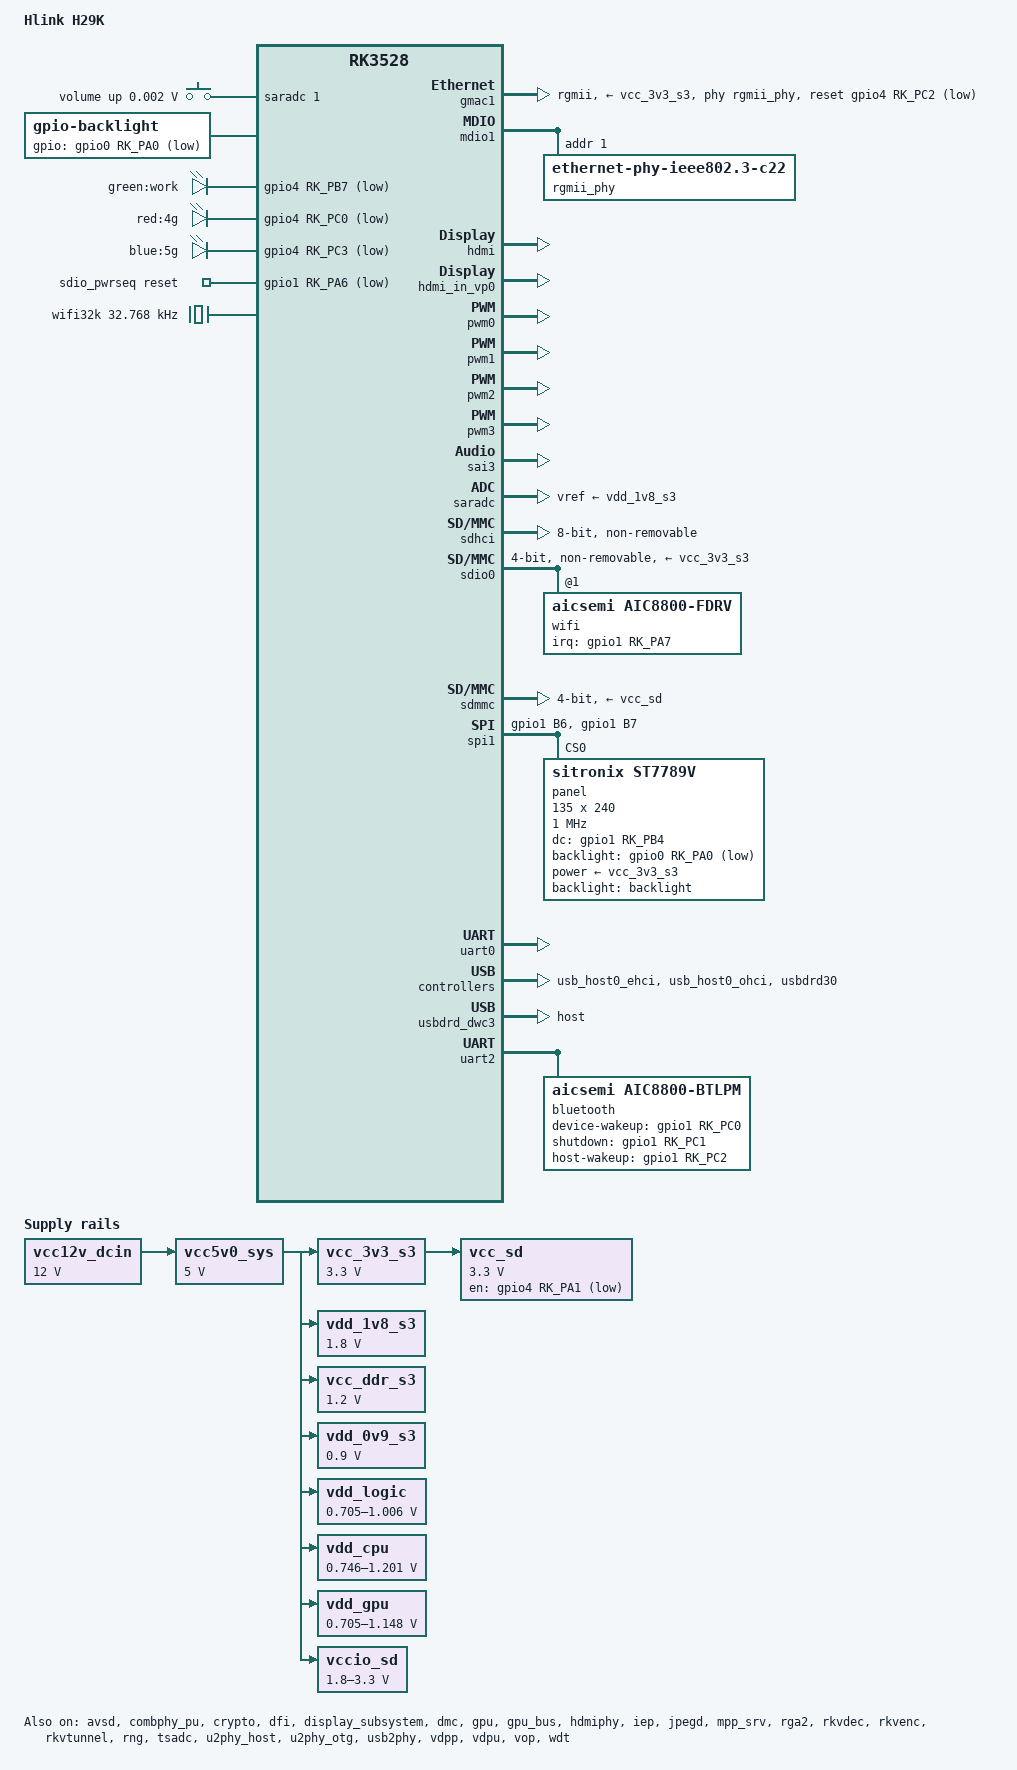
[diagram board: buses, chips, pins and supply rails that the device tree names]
// SPDX-License-Identifier: (GPL-2.0+ OR MIT)
/*
 * Copyright (c) 2022 Rockchip Electronics Co., Ltd.
 * Author: flippy (flippy@sina.com)
 *
 */

/dts-v1/;

#include <dt-bindings/gpio/gpio.h>
#include <dt-bindings/input/rk-input.h>
#include <dt-bindings/pinctrl/rockchip.h>
#include "rk3528.dtsi"

/ {
	model = "Hlink H29K";
	compatible = "hlink,h29k", "rockchip,rk3528";

	acodec_sound: acodec-sound {
		status = "disabled";
		compatible = "simple-audio-card";
		simple-audio-card,name = "rk3528-acodec";
		simple-audio-card,format = "i2s";
		simple-audio-card,mclk-fs = <256>;
		simple-audio-card,cpu {
			sound-dai = <&sai2>;
		};
		simple-audio-card,codec {
			sound-dai = <&acodec>;
		};
	};

	adc_keys: adc-keys {
		status = "okay";
		compatible = "adc-keys";
		io-channels = <&saradc 1>;
		io-channel-names = "buttons";
		keyup-threshold-microvolt = <1800000>;
		poll-interval = <100>;

		vol-up-key {
			label = "volume up";
			linux,code = <KEY_VOLUMEUP>;
			press-threshold-microvolt = <1750>;
		};
	};

	aliases: aliases {
		ethernet0 = &gmac1;
		mmc0 = &sdmmc;
		mmc1 = &sdhci;
		mmc2 = &sdio0;
	};

	backlight: backlight {
		compatible = "gpio-backlight";
		pinctrl-names = "default";
		pinctrl-0 = <&lcd_backlight_pin>;
		gpios = <&gpio0 RK_PA0 GPIO_ACTIVE_LOW>;
		default-on;
	};
	
	chosen: chosen{
		bootargs = "earlycon=uart8250,mmio32,0xff9f0000 console=ttyS0,1500000";
	};

	fiq_debugger: fiq-debugger {
		compatible = "rockchip,fiq-debugger";
		rockchip,serial-id = <0>;
		rockchip,wake-irq = <0>;
		/* If enable uart uses irq instead of fiq */
		rockchip,irq-mode-enable = <1>;
		rockchip,baudrate = <1500000>;  /* Only 115200 and 1500000 */
		interrupts = <GIC_SPI 186 IRQ_TYPE_LEVEL_HIGH>;
		pinctrl-names = "default";
		pinctrl-0 = <&uart0m0_xfer>;
		status = "disabled";
	};

	firmware: firmware {
		optee: optee {
			compatible = "linaro,optee-tz";
			method = "smc";
		};
	};

	leds: leds {
		compatible = "gpio-leds";
		pinctrl-names = "led-green-work", "led-red-4g", "led-blue-5g";
		pinctrl-0 = <&led_green_work_en>, <&led_red_4g_en>, <&led_blue_5g_en>;

		led_green_work: led-green-work {
			label = "green:work";
			gpios = <&gpio4 RK_PB7 GPIO_ACTIVE_LOW>;
			linux,default-trigger = "heartbeat";
		};

		led_red_4g: led-red-4g {
			label = "red:4g";
			gpios = <&gpio4 RK_PC0 GPIO_ACTIVE_LOW>;
		};

		led_blue_5g: led-blue-5g {
			label = "blue:5g";
			gpios = <&gpio4 RK_PC3 GPIO_ACTIVE_LOW>;
		};
	};

	reserved_memory: reserved-memory {
		#address-cells = <2>;
		#size-cells = <2>;
		ranges;

		cmd: cma {
			compatible = "shared-dma-pool";
			reusable;
			size = <0x00 0x2000000>;
			linux,cma-default;
		};

		drm_logo: drm-logo@00000000 {
			compatible = "rockchip,drm-logo";
			reg = <0x0 0x0 0x0 0x0>;
		};

		drm_cubic_lut: drm-cubic-lut@00000000 {
			compatible = "rockchip,drm-cubic-lut";
			reg = <0x0 0x0 0x0 0x0>;
		};

		ramoops: ramoops@110000 {
			compatible = "ramoops";
			/* 0x110000 to 0x1f0000 is for ramoops */
			reg = <0x0 0x110000 0x0 0xe0000>;
			boot-log-size = <0x8000>;	/* do not change */
			boot-log-count = <0x1>;		/* do not change */
			console-size = <0x80000>;
			pmsg-size = <0x30000>;
			ftrace-size = <0x00000>;
			record-size = <0x14000>;
		};
	};

	vcc12v_dcin: vcc12v-dcin {
		compatible = "regulator-fixed";
		regulator-name = "vcc12v-dcin";
		regulator-always-on;
		regulator-boot-on;
		regulator-min-microvolt = <12000000>;
		regulator-max-microvolt = <12000000>;
	};

	vcc5v0_sys: vcc5v0-sys {
		compatible = "regulator-fixed";
		regulator-name = "vcc5v0_sys";
		regulator-always-on;
		regulator-boot-on;
		regulator-min-microvolt = <5000000>;
		regulator-max-microvolt = <5000000>;
		vin-supply = <&vcc12v_dcin>;
	};

	vcc_3v3_s3: vcc-3v3-s3 {
		compatible = "regulator-fixed";
		regulator-name = "vcc_3v3_s3";
		regulator-always-on;
		regulator-boot-on;
		regulator-min-microvolt = <3300000>;
		regulator-max-microvolt = <3300000>;
		vin-supply = <&vcc5v0_sys>;
	};

	vdd_1v8_s3: vdd-1v8-s3 {
		compatible = "regulator-fixed";
		regulator-name = "vdd_1v8_s3";
		regulator-always-on;
		regulator-boot-on;
		regulator-min-microvolt = <1800000>;
		regulator-max-microvolt = <1800000>;
		vin-supply = <&vcc5v0_sys>;
	};

	vcc_ddr_s3: vcc-ddr-s3 {
		compatible = "regulator-fixed";
		regulator-name = "vcc_ddr_s3";
		regulator-always-on;
		regulator-boot-on;
		regulator-min-microvolt = <1200000>;
		regulator-max-microvolt = <1200000>;
		vin-supply = <&vcc5v0_sys>;
	};

	vdd_0v9_s3: vdd-0v9-s3 {
		compatible = "regulator-fixed";
		regulator-name = "vdd_0v9_s3";
		regulator-always-on;
		regulator-boot-on;
		regulator-min-microvolt = <900000>;
		regulator-max-microvolt = <900000>;
		vin-supply = <&vcc5v0_sys>;
	};

	vdd_logic: vdd-logic {
		compatible = "pwm-regulator";
		pwms = <&pwm2 0 5000 1>;
		regulator-name = "vdd_logic";
		regulator-min-microvolt = <705000>;
		regulator-max-microvolt = <1006000>;
		regulator-init-microvolt = <950000>;
		regulator-always-on;
		regulator-boot-on;
		regulator-settling-time-up-us = <250>;
		pwm-supply = <&vcc5v0_sys>;
		status = "okay";
	};

	vdd_cpu: vdd-cpu {
		compatible = "pwm-regulator";
		pwms = <&pwm1 0 5000 1>;
		regulator-name = "vdd_cpu";
		regulator-min-microvolt = <746000>;
		regulator-max-microvolt = <1201000>;
		regulator-init-microvolt = <953000>;
		regulator-always-on;
		regulator-boot-on;
		regulator-settling-time-up-us = <250>;
		regulator-enable-ramp-delay = <400>;
		regulator-ramp-delay = <12500>;
		pwm-supply = <&vcc5v0_sys>;
		status = "okay";
	};

	vdd_gpu: vdd-gpu {
		compatible = "pwm-regulator";
		pwms = <&pwm0 0 5000 1>;
		regulator-name = "vdd_gpu";
		regulator-min-microvolt = <705000>;
		regulator-max-microvolt = <1148000>;
		regulator-init-microvolt = <900000>;
		regulator-always-on;
		regulator-boot-on;
		regulator-settling-time-up-us = <250>;
		regulator-enable-ramp-delay = <400>;
		regulator-ramp-delay = <12500>;
		pwm-supply = <&vcc5v0_sys>;
		status = "okay";
	};

	vcc_sd: vcc-sd {
		compatible = "regulator-fixed";
		gpio = <&gpio4 RK_PA1 GPIO_ACTIVE_LOW>;
		regulator-name = "vcc_sd";
		regulator-min-microvolt = <3300000>;
		regulator-max-microvolt = <3300000>;
		vin-supply = <&vcc_3v3_s3>;
	};

	vccio_sd: vccio-sd {
		compatible = "regulator-gpio";
		regulator-name = "vccio_sd";
		regulator-min-microvolt = <1800000>;
		regulator-max-microvolt = <3300000>;
		gpios = <&gpio4 RK_PB6 GPIO_ACTIVE_HIGH>;
		vin-supply = <&vcc5v0_sys>;
		states = <1800000 0x0
			  3300000 0x1>;
	};

	hdmi_sound: hdmi-sound {
		compatible = "rockchip,hdmi";
		rockchip,mclk-fs = <128>;
		rockchip,card-name = "rockchip,hdmi";
		rockchip,cpu = <&sai3>;
		rockchip,codec = <&hdmi>;
		rockchip,jack-det;
	};

	sdio_pwrseq: sdio-pwrseq {
		status = "okay";
		compatible = "mmc-pwrseq-simple";
		clocks = <&wifi32k>;
		clock-names = "ext_clock";
		pinctrl-names = "default";
		pinctrl-0 = <&wifi_enable_h>; // WIFI_REG_ON
		reset-gpios = <&gpio1 RK_PA6 GPIO_ACTIVE_LOW>;
		post-power-on-delay-ms = <1000>;
	};

	wifi32k: wifi32k {
		compatible = "fixed-clock";
		clock-frequency = <32768>;
		#clock-cells = <0>;
	};
};

&acodec {
	//pa-ctl-gpios = <&gpio0 RK_PA0 GPIO_ACTIVE_HIGH>;
	status = "disabled";
};

&avsd {
	status = "okay";
};

&combphy_pu {
	status = "okay";
};

&cpu0 {
	cpu-supply = <&vdd_cpu>;
};

&cpu0_opp_table {
	opp-408000000 {
		opp-microvolt-L0 = <905000 905000 1200000>;
		opp-microvolt-L1 = <895000 895000 1200000>;
		opp-microvolt-L2 = <885000 885000 1200000>;
		opp-microvolt-L3 = <875000 875000 1200000>;
		opp-microvolt-L4 = <865000 865000 1200000>;
		opp-microvolt-L5 = <855000 855000 1200000>;
		opp-microvolt = <850000 850000 1200000>;
	};

	opp-600000000 {
		opp-microvolt-L0 = <905000 905000 1200000>;
		opp-microvolt-L1 = <895000 895000 1200000>;
		opp-microvolt-L2 = <885000 885000 1200000>;
		opp-microvolt-L3 = <875000 875000 1200000>;
		opp-microvolt-L4 = <865000 865000 1200000>;
		opp-microvolt-L5 = <855000 855000 1200000>;
		opp-microvolt = <850000 850000 1200000>;
	};

	opp-816000000 {
		opp-microvolt-L0 = <905000 905000 1200000>;
		opp-microvolt-L1 = <895000 895000 1200000>;
		opp-microvolt-L2 = <885000 885000 1200000>;
		opp-microvolt-L3 = <875000 875000 1200000>;
		opp-microvolt-L4 = <865000 865000 1200000>;
		opp-microvolt-L5 = <855000 855000 1200000>;
		opp-microvolt = <850000 850000 1200000>;
	};

	opp-1008000000 {
		opp-microvolt-L0 = <905000 905000 1200000>;
		opp-microvolt-L1 = <895000 895000 1200000>;
		opp-microvolt-L2 = <885000 885000 1200000>;
		opp-microvolt-L3 = <875000 875000 1200000>;
		opp-microvolt-L4 = <865000 865000 1200000>;
		opp-microvolt-L5 = <855000 855000 1200000>;
		opp-microvolt = <850000 850000 1200000>;
	};

	opp-1200000000 {
		opp-microvolt-L0 = <935000 935000 1200000>;
		opp-microvolt-L1 = <922500 922500 1200000>;
		opp-microvolt-L2 = <910000 910000 1200000>;
		opp-microvolt-L3 = <897500 897500 1200000>;
		opp-microvolt-L4 = <885000 885000 1200000>;
		opp-microvolt-L5 = <872500 872500 1200000>;
		opp-microvolt-L6 = <860000 860000 1200000>;
		opp-microvolt = <850000 850000 1200000>;
	};

	opp-1416000000 {
		opp-microvolt-L0 = <1002500 1002500 1200000>;
		opp-microvolt-L1 = <990000 990000 1200000>;
		opp-microvolt-L2 = <977500 977500 1200000>;
		opp-microvolt-L3 = <965000 965000 1200000>;
		opp-microvolt-L4 = <952500 952500 1200000>;
		opp-microvolt-L5 = <940000 940000 1200000>;
		opp-microvolt-L6 = <927500 927500 1200000>;
		opp-microvolt-L7 = <915000 915000 1200000>;
		opp-microvolt-L8 = <902500 902500 1200000>;
		opp-microvolt-L9 = <890000 890000 1200000>;
		opp-microvolt-L10 = <877500 877500 1200000>;
		opp-microvolt-L11 = <865000 865000 1200000>;
		opp-microvolt = <865000 865000 1200000>;
	};

	opp-1608000000 {
		opp-microvolt-L0 = <1072500 1072500 1200000>;
		opp-microvolt-L1 = <1060000 1060000 1200000>;
		opp-microvolt-L2 = <1047500 1047500 1200000>;
		opp-microvolt-L3 = <1035000 1035000 1200000>;
		opp-microvolt-L4 = <1022500 1022500 1200000>;
		opp-microvolt-L5 = <1010000 1010000 1200000>;
		opp-microvolt-L6 = <997500 997500 1200000>;
		opp-microvolt-L7 = <985000 985000 1200000>;
		opp-microvolt-L8 = <972500 972500 1200000>;
		opp-microvolt-L9 = <960000 960000 1200000>;
		opp-microvolt-L10 = <947500 947500 1200000>;
		opp-microvolt-L11 = <935000 935000 1200000>;
		opp-microvolt = <935000 935000 1200000>;
	};

	opp-1800000000 {
		opp-microvolt-L0 = <1142500 1142500 1200000>;
		opp-microvolt-L1 = <1130000 1130000 1200000>;
		opp-microvolt-L2 = <1117500 1117500 1200000>;
		opp-microvolt-L3 = <1105000 1105000 1200000>;
		opp-microvolt-L4 = <1092500 1092500 1200000>;
		opp-microvolt-L5 = <1080000 1080000 1200000>;
		opp-microvolt-L6 = <1067500 1067500 1200000>;
		opp-microvolt-L7 = <1055000 1055000 1200000>;
		opp-microvolt-L8 = <1042500 1042500 1200000>;
		opp-microvolt-L9 = <1030000 1030000 1200000>;
		opp-microvolt-L10 = <1017500 1017500 1200000>;
		opp-microvolt-L11 = <1005000 1005000 1200000>;
		opp-microvolt = <1005000 1005000 1200000>;
	};

	opp-2016000000 {
		opp-microvolt-L0 = <1200000 1200000 1200000>;
		opp-microvolt-L1 = <1190000 1190000 1200000>;
		opp-microvolt-L2 = <1180000 1180000 1200000>;
		opp-microvolt-L3 = <1170000 1170000 1200000>;
		opp-microvolt-L4 = <1160000 1160000 1200000>;
		opp-microvolt-L5 = <1150000 1150000 1200000>;
		opp-microvolt-L6 = <1140000 1140000 1200000>;
		opp-microvolt-L7 = <1130000 1130000 1200000>;
		opp-microvolt-L8 = <1120000 1120000 1200000>;
		opp-microvolt-L9 = <1110000 1110000 1200000>;
		opp-microvolt-L10 = <1100000 1100000 1200000>;
		opp-microvolt-L11 = <1090000 1090000 1200000>;
		opp-microvolt = <1090000 1090000 1200000>;
	};
};

&crypto {
	status = "okay";
};

&dfi {
	status = "okay";
};

&display_subsystem {
	status = "okay";
	memory-region = <&drm_logo>, <&drm_cubic_lut>;
	memory-region-names = "drm-logo", "drm-cubic-lut";
	/* devfreq = <&dmc>; */

	route {
		route_hdmi: route-hdmi {
			status = "okay";
			logo,uboot = "logo.bmp";
			logo,kernel = "logo_kernel.bmp";
			logo,mode = "center";
			charge_logo,mode = "center";
			connect = <&vp0_out_hdmi>;
		};

		route_tve: route-tve {
			status = "disabled";
			logo,uboot = "logo.bmp";
			logo,kernel = "logo_kernel.bmp";
			logo,mode = "center";
			charge_logo,mode = "center";
			connect = <&vp1_out_tve>;
		};
	};
};

&dmc {
	center-supply = <&vdd_logic>;
	status = "okay";
};

&gmac1 {
	status = "okay";
	pinctrl-names = "default";
	pinctrl-0 = <&rgmii_miim
		     &rgmii_tx_bus2
		     &rgmii_rx_bus2
		     &rgmii_rgmii_clk
		     &rgmii_rgmii_bus
		     &eth_pins>;

	phy-supply = <&vcc_3v3_s3>;
	phy-handle = <&rgmii_phy>;

	phy-mode = "rgmii";
	clock_in_out = "output";
	tx_delay = <0x35>;
	rx_delay = <0x2b>;

	snps,reset-gpio = <&gpio4 RK_PC2 GPIO_ACTIVE_LOW>;
	snps,reset-active-low;
	/* Reset time is 20ms, 100ms for rtl8211f */
	snps,reset-delays-us = <0 20000 100000>;
};

&gpu {
	mali-supply = <&vdd_gpu>;
	status = "okay";
};

&gpu_bus {
	bus-supply = <&vdd_logic>;
	status = "okay";
};

&mdio1 {
	rgmii_phy: phy@1 {
		compatible = "ethernet-phy-ieee802.3-c22";
		reg = <0x1>;
		realtek,led-data = <0xc160>;
	};
};

&mailbox {
	status = "okay";
};

&hdmi {
	status = "okay";
};

&hdmi_in_vp0 {
	status = "okay";
};

&hdmiphy {
	status = "okay";
};

&iep {
	status = "okay";
};

&iep_mmu {
	status = "okay";
};

&jpegd {
	status = "okay";
};

&jpegd_mmu {
	status = "okay";
};

&mpp_srv {
	status = "okay";
};

&pinctrl {
	lcd {
		lcd_dc_pin: lcd-dc-pin {
			rockchip,pins = <1 RK_PB4 RK_FUNC_GPIO &pcfg_pull_up_drv_level_6>;
		};

		spi1_custom_pins: spi4-custom-pins {
			rockchip,pins =
				/* spi1_clk_m2 */
				<1 RK_PB6 2 &pcfg_pull_none_drv_level_2>,
				/* spi1_mosi_m2 */
				<1 RK_PB7 2 &pcfg_pull_none_drv_level_2>;
		};

		lcd_backlight_pin: lcd-backlight-pin {
			rockchip,pins = <0 RK_PA0 RK_FUNC_GPIO &pcfg_pull_up>;
		};
	};

	leds {
		led_green_work_en: led-green-work-en {
			rockchip,pins = <4 RK_PB7 RK_FUNC_GPIO &pcfg_pull_up>;
		};

		led_red_4g_en: led-red-4g-en {
			rockchip,pins = <4 RK_PC0 RK_FUNC_GPIO &pcfg_pull_up>;
		};

		led_blue_5g_en: led-blue-5g-en {
			rockchip,pins = <4 RK_PC3 RK_FUNC_GPIO &pcfg_pull_up>;
		};
	};

	sdio-pwrseq {
		wifi_enable_h: wifi-enable-h {
			rockchip,pins = <1 RK_PA6 RK_FUNC_GPIO &pcfg_pull_none>;
		};
	};

	wireless-wlan {
		wifi_wake_host_irq: wifi-wake-host-irq {
			rockchip,pins = <1 RK_PA7 RK_FUNC_GPIO &pcfg_pull_none>;
		};

		host_wake_wifi: host-wake-wifi {
			rockchip,pins = <1 RK_PB5 RK_FUNC_GPIO &pcfg_pull_none>;
		};
	};

	wireless-bluetooth {
		bt_host_wake: bt-host-wake {
			rockchip,pins = <1 RK_PC0 RK_FUNC_GPIO &pcfg_pull_none>;
		};

		// BT_REG_ON
		bt_enable_h: bt-enable-h {
			rockchip,pins = <1 RK_PC1 RK_FUNC_GPIO &pcfg_pull_none>;
		};

		bt_wake: bt-wake {
			rockchip,pins = <1 RK_PC2 RK_FUNC_GPIO &pcfg_pull_none>;
		};

		uart2m1_gpio: uart2m1-gpio {
			rockchip,pins = <1 RK_PB2 RK_FUNC_GPIO &pcfg_pull_none>;
		};
	};
};

&pwm0 {
	status = "okay";
};

&pwm1 {
	status = "okay";
};

&pwm2 {
	status = "okay";
};

&pwm3 {
	compatible = "rockchip,remotectl-pwm";
	pinctrl-names = "default";
	pinctrl-0 = <&pwm3m0_pins>;
	remote_pwm_id = <3>;
	handle_cpu_id = <1>;
	remote_support_psci = <0>;
	status = "okay";

	ir_key1 {
		rockchip,usercode = <0x4040>;
		rockchip,key_table =
			<0xf2	KEY_REPLY>,
			<0xba	KEY_BACK>,
			<0xf4	KEY_UP>,
			<0xf1	KEY_DOWN>,
			<0xef	KEY_LEFT>,
			<0xee	KEY_RIGHT>,
			<0xbd	KEY_HOME>,
			<0xea	KEY_VOLUMEUP>,
			<0xe3	KEY_VOLUMEDOWN>,
			<0xe2	KEY_SEARCH>,
			<0xb2	KEY_POWER>,
			<0xbc	KEY_MUTE>,
			<0xec	KEY_MENU>,
			<0xbf	0x190>,
			<0xe0	0x191>,
			<0xe1	0x192>,
			<0xe9	183>,
			<0xe6	248>,
			<0xe8	185>,
			<0xe7	186>,
			<0xf0	388>,
			<0xbe	0x175>;
	};

	ir_key2 {
		rockchip,usercode = <0xff00>;
		rockchip,key_table =
			<0xf9	KEY_HOME>,
			<0xbf	KEY_BACK>,
			<0xfb	KEY_MENU>,
			<0xaa	KEY_REPLY>,
			<0xb9	KEY_UP>,
			<0xe9	KEY_DOWN>,
			<0xb8	KEY_LEFT>,
			<0xea	KEY_RIGHT>,
			<0xeb	KEY_VOLUMEDOWN>,
			<0xef	KEY_VOLUMEUP>,
			<0xf7	KEY_MUTE>,
			<0xe7	KEY_POWER>,
			<0xfc	KEY_POWER>,
			<0xa9	KEY_VOLUMEDOWN>,
			<0xa8	KEY_PLAYPAUSE>,
			<0xe0	KEY_VOLUMEDOWN>,
			<0xa5	KEY_VOLUMEDOWN>,
			<0xab	183>,
			<0xb7	388>,
			<0xe8	388>,
			<0xf8	184>,
			<0xaf	185>,
			<0xed	KEY_VOLUMEDOWN>,
			<0xee	186>,
			<0xb3	KEY_VOLUMEDOWN>,
			<0xf1	KEY_VOLUMEDOWN>,
			<0xf2	KEY_VOLUMEDOWN>,
			<0xf3	KEY_SEARCH>,
			<0xb4	KEY_VOLUMEDOWN>,
			<0xa4	KEY_SETUP>,
			<0xbe	KEY_SEARCH>;
	};

	ir_key3 {
		rockchip,usercode = <0x1dcc>;
		rockchip,key_table =
			<0xee	KEY_REPLY>,
			<0xf0	KEY_BACK>,
			<0xf8	KEY_UP>,
			<0xbb	KEY_DOWN>,
			<0xef	KEY_LEFT>,
			<0xed	KEY_RIGHT>,
			<0xfc	KEY_HOME>,
			<0xf1	KEY_VOLUMEUP>,
			<0xfd	KEY_VOLUMEDOWN>,
			<0xb7	KEY_SEARCH>,
			<0xff	KEY_POWER>,
			<0xf3	KEY_MUTE>,
			<0xbf	KEY_MENU>,
			<0xf9	0x191>,
			<0xf5	0x192>,
			<0xb3	388>,
			<0xbe	KEY_1>,
			<0xba	KEY_2>,
			<0xb2	KEY_3>,
			<0xbd	KEY_4>,
			<0xf9	KEY_5>,
			<0xb1	KEY_6>,
			<0xfc	KEY_7>,
			<0xf8	KEY_8>,
			<0xb0	KEY_9>,
			<0xb6	KEY_0>,
			<0xb5	KEY_BACKSPACE>;
	};
};

&rga2 {
	status = "okay";
};

&rga2_mmu {
	status = "okay";
};

&rkvdec {
	status = "okay";
};

&rkvdec_mmu {
	status = "okay";
};

&rkvenc {
	status = "okay";
};

&rkvenc_mmu {
	status = "okay";
};

&rkvtunnel {
	status = "okay";
};

&rng {
	status = "okay";
};

&rockchip_suspend {
	status = "okay";
	rockchip,sleep-debug-en = <1>;
	rockchip,virtual-poweroff = <1>;
	rockchip,sleep-mode-config = <
		(0
		| RKPM_SLP_ARMPD
		)
	>;
	rockchip,wakeup-config = <
		(0
		| RKPM_CPU0_WKUP_EN
		| RKPM_GPIO_WKUP_EN
		)
	>;
	rockchip,pwm-regulator-config = <
		(0
		| RKPM_PWM0_M0_REGULATOR_EN
		| RKPM_PWM1_M0_REGULATOR_EN
		)
	>;
};

&sai2 {
	status = "disabled";
};

&sai3 {
	status = "okay";
};

&saradc {
	status = "okay";
	vref-supply = <&vdd_1v8_s3>;
};

&sdhci {
	bus-width = <8>;
	no-sd;
	no-sdio;
	non-removable;
	mmc-hs200-1_8v;
	max-frequency = <200000000>;
	pinctrl-names = "default";
	pinctrl-0 = <&emmc_clk &emmc_cmd &emmc_strb &emmc_bus8>;
	status = "okay";
};

&sdio0 {
	#address-cells = <1>;
	#size-cells = <0>;
	max-frequency = <50000000>;
	no-sd;
	no-mmc;
	supports-sdio;
	bus-width = <4>;
	disable-wp;
	cap-sd-highspeed;
	cap-sdio-irq;
	keep-power-in-suspend;
	non-removable;
	mmc-pwrseq = <&sdio_pwrseq>;
	pinctrl-names = "default";
	pinctrl-0 = <&sdio0_bus4 &sdio0_cmd &sdio0_clk>;
	vmmc-supply = <&vcc_3v3_s3>;
	vqmmc-supply = <&vcc_3v3_s3>;
	status = "okay";

	wifi: wifi@1 {
		compatible = "aicsemi,aic8800-fdrv";
		reg = <1>;
		interrupt-parent = <&gpio1>;
		interrupts = <RK_PA7 IRQ_TYPE_LEVEL_HIGH>;
		interrupt-names = "host-wake";
		pinctrl-names = "default";
		pinctrl-0 = <&wifi_wake_host_irq>;
	};
};

&sdmmc {
	bus-width = <4>;
	cap-mmc-highspeed;
	cap-sd-highspeed;
	disable-wp;
	max-frequency = <100000000>;
	pinctrl-names = "default";
	pinctrl-0 = <&sdmmc_clk &sdmmc_cmd &sdmmc_det &sdmmc_bus4>;
	rockchip,default-sample-phase = <90>;
	supports-sd;
	sd-uhs-sdr12;
	sd-uhs-sdr25;
	sd-uhs-sdr50;
	vqmmc-supply = <&vccio_sd>;
	vmmc-supply = <&vcc_sd>;
	status = "okay";
};

&sfc {
	status = "disabled";
};

/* LCD:   st7789v, 135(H) x 240(V), 8pin, 4Line SPI
 * pin1:  LEDA:  LED Anode.                                                      --> VCC
 * pin2:  GND:   Power Ground.                                                   --> GND
 * pin3:  RESET: This signal will reset th device, Signal is active low.         --> GND
 * pin4:  RS:    Display data/command selection pin in 4-line serial interface.  --> gpio1 RK_PB4
 * pin5:  SDA:   SPI interface input/output pin.                                 --> gpio1 RK_PB7
 * pin6:  SCL:   This pin is used to be serial interface clock                   --> gpio1 RK_PB6
 * pin7:  VDD:   Power Supply for Analog
 * pin8:  CS:    Chip selection pin. Low enable, High disable.                   --> GND
 */
&spi1 {
	#address-cells = <1>;
	#size-cells = <0>;
	assigned-clocks = <&cru CLK_SPI1>;
	assigned-clock-rates = <200000000>;
	num-cs = <1>;
	pinctrl-names = "default";
	pinctrl-0 = <&spi1_custom_pins>;
	status = "okay";

	panel: panel@0 {
		backlight = <&backlight>;
		compatible = "sitronix,st7789v";
		power-supply = <&vcc_3v3_s3>;  // LCD面板的电源输入，连接到3V电源
		reg = <0>;

		pinctrl-names = "default";
		pinctrl-0 = <&lcd_dc_pin>;
		dc-gpios = <&gpio1 RK_PB4 GPIO_ACTIVE_HIGH>;
		backlight-gpios = <&gpio0 RK_PA0 GPIO_ACTIVE_LOW>;  // 背光引脚

                spi-max-frequency = <1000000>;

		width = <135>;
		height = <240>;
		//fps = <20>;
		buswidth = <8>;
		rotate = <90>;

		/* debug: 0-7 */
		debug = <0>;
		//spi-cpol;
		//spi-cpha;
	};
};

&tsadc {
	status = "okay";
};

&uart0 {
	status = "okay";
	pinctrl-names = "default";
	pinctrl-0 = <&uart0m0_xfer>;
};

&u2phy_host {
	phy-supply = <&vcc5v0_sys>;
	status = "okay";
};

&u2phy_otg {
	phy-supply = <&vcc5v0_sys>;
	status = "okay";
};

&usb2phy {
	status = "okay";
};

&usb_host0_ehci {
	status = "okay";
};

&usb_host0_ohci {
	status = "okay";
};

&usbdrd30 {
	status = "okay";
};

&usbdrd_dwc3 {
	status = "okay";
	dr_mode = "host";
};

&vdpp {
	status = "okay";
};

&vdpu {
	status = "okay";
};

&vdpu_mmu {
	status = "okay";
};

&vop {
	status = "okay";
};

&vop_mmu {
	status = "okay";
};

&uart2 {
	status = "okay";
	pinctrl-names = "default";
	//pinctrl-0 = <&uart2m1_xfer &uart2m1_ctsn &uart2m1_gpio>;
	pinctrl-0 = <&uart2m1_xfer &uart2m1_ctsn &uart2m1_rtsn>;

	bluetooth: bluetooth {
		compatible = "aicsemi,aic8800-btlpm";
		max-speed = <1500000>;
		device-wakeup-gpios = <&gpio1 RK_PC0 GPIO_ACTIVE_HIGH>; // HOST_WAKE_BT
		shutdown-gpios = <&gpio1 RK_PC1 GPIO_ACTIVE_HIGH>;  // BT_REG_ON
		host-wakeup-gpios = <&gpio1 RK_PC2 GPIO_ACTIVE_HIGH>;  // BT_WAKE_HOST
		pinctrl-names = "default";
		pinctrl-0 = <&bt_host_wake &bt_wake &bt_enable_h>;
	};
};

&wdt {
	status = "okay";
};
